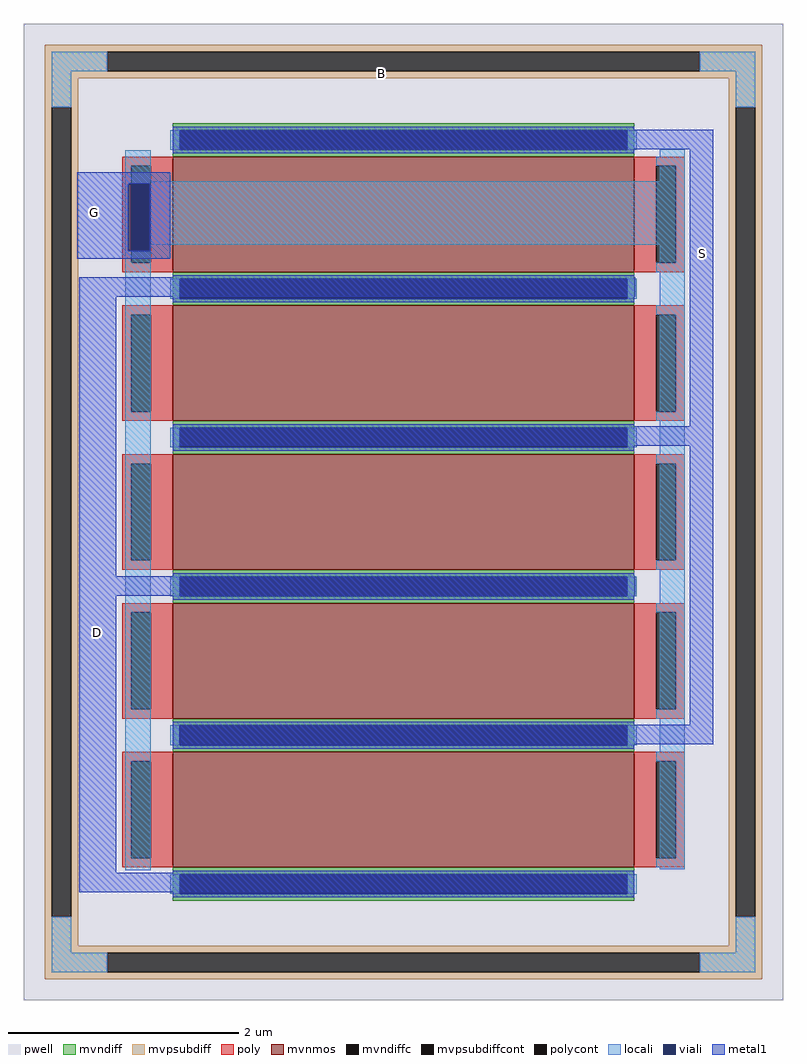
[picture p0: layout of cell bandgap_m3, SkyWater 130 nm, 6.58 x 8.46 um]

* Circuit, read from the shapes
.subckt bandgap_m3 G B S D
XM1 S G D sky130_fd_pr__nfet_g5v0d10v5_SNXN39_0/B sky130_fd_pr__nfet_g5v0d10v5 w=4 l=1 m=5
.ends

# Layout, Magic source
magic
tech sky130A
magscale 1 2
<< locali >>
rect -4198 900 -4154 954
rect -3272 900 -3228 956
rect -4198 896 -3228 900
rect -4198 780 -4193 896
rect -4156 790 -3228 896
rect -4156 780 -4154 790
rect -4198 -294 -4154 780
rect -3272 -292 -3228 790
<< viali >>
rect -4193 780 -4156 896
<< metal1 >>
rect -4114 956 -3179 990
rect -4282 896 -4120 916
rect -4282 780 -4193 896
rect -4156 780 -4120 896
rect -4282 766 -4120 780
rect -4278 700 -3314 734
rect -4278 216 -4214 700
rect -3220 476 -3179 956
rect -4112 442 -3179 476
rect -4278 182 -3314 216
rect -4278 -298 -4214 182
rect -3220 -42 -3179 442
rect -4102 -76 -3179 -42
rect -4278 -332 -3318 -298
use sky130_fd_pr__nfet_g5v0d10v5_SNXN39  sky130_fd_pr__nfet_g5v0d10v5_SNXN39_0
transform 0 1 -3716 -1 0 327
box -846 -658 846 658
<< labels >>
flabel metal1 -4252 846 -4252 846 0 FreeSans 800 0 0 0 G
port 1 nsew
flabel space -3754 1088 -3754 1088 0 FreeSans 800 0 0 0 B
port 4 nsew
flabel metal1 -3198 776 -3198 776 0 FreeSans 800 0 0 0 S
port 5 nsew
flabel metal1 -4246 118 -4246 118 0 FreeSans 800 0 0 0 D
port 6 nsew
<< end >>

# cell sky130_fd_pr__nfet_g5v0d10v5_SNXN39: kit device sky130_fd_pr__nfet_g5v0d10v5, w 4 l 1 m 1 nf 5 diffcov 100 polycov 100 guard 1 glc 1 grc 1 gtc 1 gbc 1 tbcov 100 rlcov 100 topc 1 botc 1 poverlap 0 doverlap 1 lmin 0.50 wmin 0.42 class mosfet compatible {sky130_fd_pr__nfet_01v8 sky130_fd_pr__nfet_01v8_lvt sky130_fd_bs_flash__special_sonosfet_star sky130_fd_pr__nfet_g5v0d10v5 sky130_fd_pr__nfet_05v0_nvt sky130_fd_pr__nfet_03v3_nvt} full_metal 1 conn_gates 0 viasrc 100 viadrn 100 viagate 100 viagb 0 viagr 0 viagl 0 viagt 0 doports 1
